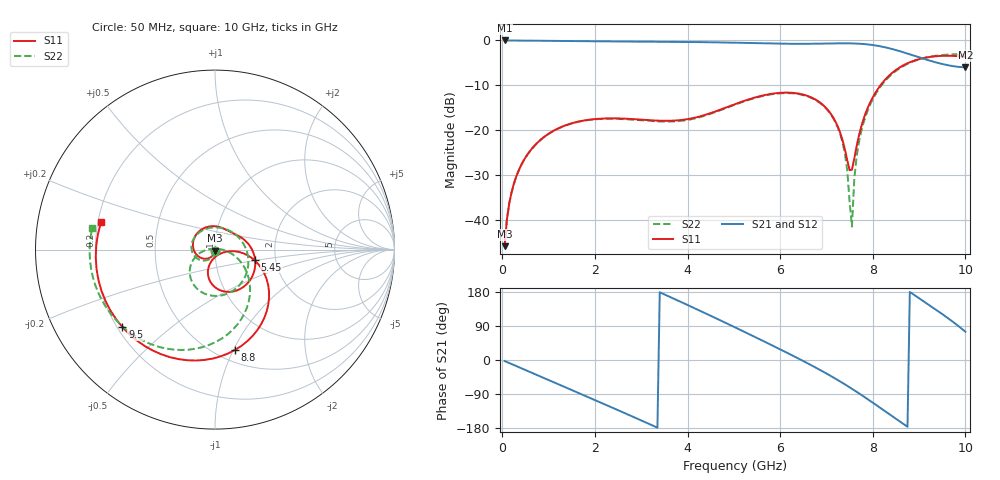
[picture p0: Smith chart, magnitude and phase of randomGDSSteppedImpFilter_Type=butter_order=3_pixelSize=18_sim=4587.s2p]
! freq	dB(S11)	phase(S11)	dB(S12)	phase(S12)
!  dB(S21)	phase(S21)	dB(S22)	phase(S22)
!S-par simulation data
#  GHz  S  DB  R 50
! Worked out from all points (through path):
!   200 points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, 50 MHz to 10 GHz, reference 50 ohm
!   highest |S21| = -0.01 dB at 50 MHz (marker M1); lowest = -6.0 dB at 10 GHz (marker M2)
!   group delay of S21, straight-line fit = 174 ps
!   lowest |S11| = -45.9 dB at 50 MHz (marker M3), VSWR 1.01, Z = 50 - j0.504 ohm
!   |S11| at or under -10 dB: start of sweep to 8.168 GHz
!   |S22| runs from -45.9 to -3.1 dB; largest |S21 - S12| = 0
!   S11 on the Smith chart (normalised r, x): 50 MHz: 1.00, -0.01; 5.45 GHz: 1.56, -0.18; 8.8 GHz: 0.61, -1.01; 9.5 GHz: 0.22, -0.35; 10 GHz: 0.21, +0.11
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0.05  -45.94 -92.1  -0.01 -2.7  -0.01 -2.7  -45.91 -91.5
0.2  -33.93 -101.6  -0.02 -10.7  -0.02 -10.7  -33.91 -99.2
0.5  -26.15 -119.6  -0.04 -26.6  -0.04 -26.6  -26.17 -113.6
1.15  -19.92 -158.7  -0.11 -60.9  -0.11 -60.9  -19.97 -144.5
1.75  -17.91 165.3  -0.17 -92.5  -0.17 -92.5  -17.94 -172.8
2.65  -17.47 112.2  -0.24 -140.5  -0.24 -140.5  -17.59 144.1
3.4  -17.92 72.3  -0.29 178.7  -0.29 178.7  -18.10 102.0
4.35  -16.73 34.2  -0.39 125.3  -0.39 125.3  -16.88 33.9
5.05  -14.13 5.4  -0.52 84.7  -0.52 84.7  -14.25 -16.8
5.45  -12.76 -14.1  -0.61 61.1  -0.61 61.1  -12.87 -43.6
6.1  -11.65 -48.9  -0.75 22.1  -0.75 22.1  -11.76 -85.0
6.7  -12.86 -83.1  -0.75 -15.6  -0.75 -15.6  -12.97 -123.4
7.3  -20.72 -110.2  -0.65 -56.9  -0.65 -56.9  -21.04 -166.7
7.45  -26.81 -94.4  -0.65 -68.2  -0.65 -68.2  -29.13 176.6
7.55  -28.87 -42.7  -0.67 -75.9  -0.67 -75.9  -41.57 43.7
7.6  -26.45 -20.6  -0.68 -79.8  -0.68 -79.8  -31.07 6.2
7.75  -19.29 -4.8  -0.76 -91.8  -0.76 -91.8  -20.34 -13.9
8.35  -7.89 -41.7  -1.74 -142.4  -1.74 -142.4  -8.14 -65.3
8.8  -4.88 -78.8  -3.11 179.6  -3.11 179.6  -4.99 -101.2
9.15  -3.83 -108.5  -4.26 150.6  -4.26 150.6  -3.82 -127.4
9.5  -3.45 -140.1  -5.27 121.2  -5.27 121.2  -3.26 -152.7
10  -3.70 166.4  -6.00 74.7  -6.00 74.7  -3.17 170.0
